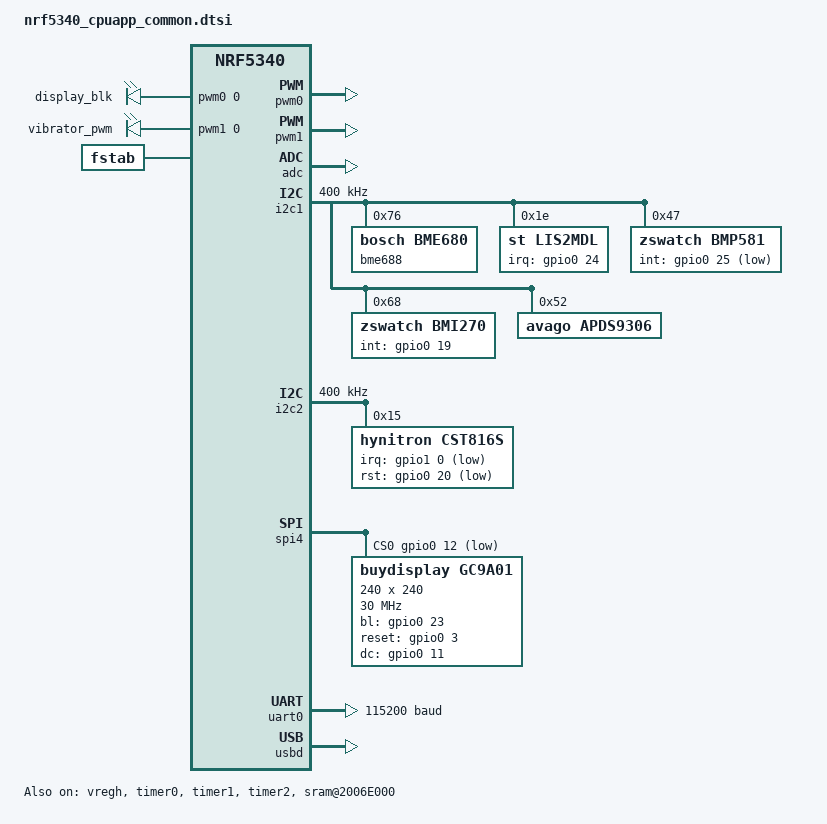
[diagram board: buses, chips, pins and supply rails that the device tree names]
/*
 * Copyright (c) 2025 ZSWatch Project
 * SPDX-License-Identifier: Apache-2.0
 */

#include "nrf5340_cpuapp_common-pinctrl.dtsi"
#include <nordic/nrf5340_cpuapp_partition.dtsi>
#include <zephyr/dt-bindings/input/input-event-codes.h>

/ {
    chosen {
        zephyr,console = &uart0;
        zephyr,shell-uart = &uart0;
        zephyr,uart-mcumgr = &uart0;
        zephyr,bt-mon-uart = &uart0;
        zephyr,bt-c2h-uart = &uart0;
        zephyr,bt-hci = &bt_hci_ipc0;
        zephyr,ieee802154 = &ieee802154;
        zephyr,display = &gc9a01;
    };

	pwmleds {
        compatible = "pwm-leds";

        display_blk: pwm_led_0 {
            pwms = <&pwm0 0 PWM_USEC(15) PWM_POLARITY_INVERTED>;
        };

        vibrator_pwm: pwm_led_1 {
            pwms = <&pwm1 0 PWM_MSEC(20) 0>;
        };
    };

    lvgl_pointer_input: lvgl_pointer {
        compatible = "zephyr,lvgl-pointer-input";
        input = <&cst816s>;
        swap-xy;
        invert-x;
    };


    aliases {
        display-blk = &display_blk;
        vibrator-pwm = &vibrator_pwm;
        sw1 = &button1;
        sw2 = &button2;
        sw3 = &button3;
        sw4 = &button4;
        watchdog0 = &wdt0;
        mcuboot-button0 = &button1;
    };
};

&vregmain {
    regulator-initial-mode = <NRF5X_REG_MODE_DCDC>;
};

&vregradio {
    regulator-initial-mode = <NRF5X_REG_MODE_DCDC>;
};

&vregh {
    status = "okay";
};

&lfxo {
    status = "disabled";
};

&pwm0 {
    status = "okay";
    pinctrl-0 = <&pwm0_default>;
    pinctrl-1 = <&pwm0_sleep>;
    pinctrl-names = "default", "sleep";
};

&pwm1 {
    status = "okay";
    pinctrl-0 = <&pwm1_default>;
    pinctrl-1 = <&pwm1_sleep>;
    pinctrl-names = "default", "sleep";
};

&adc {
    status = "okay";
};

&gpiote {
    status = "okay";
};

&gpio0 {
    status = "okay";
    sense-edge-mask = <0xffffffff>;
};

&gpio1 {
    status = "okay";
};

&i2c1 {
    compatible = "nordic,nrf-twim";
    status = "okay";
    clock-frequency = <I2C_BITRATE_FAST>;
    zephyr,concat-buf-size = <512>;

    pinctrl-0 = <&i2c1_default>;
    pinctrl-1 = <&i2c1_sleep>;
    pinctrl-names = "default", "sleep";

    bme688: bme688@76 {
        compatible = "bosch,bme680";
        reg = <0x76>;
        status = "okay";
    };

    lis2mdl: lis2mdl@1e {
        compatible = "st,lis2mdl";
        reg = <0x1e>;
        status = "okay";
        irq-gpios = <&gpio0 24 0>;
        cancel-offset;
    };

    bmp581: bmp581@47 {
        compatible = "zswatch,bmp581";
        reg = <0x47>;
        status = "okay";
        int-gpios = <&gpio0 25 (GPIO_PULL_UP | GPIO_ACTIVE_LOW)>;
    };

    bmi270: bmi270@68 {
        compatible = "zswatch,bmi270";
        reg = <0x68>;
        status = "okay";
        int-gpios = <&gpio0 19 (GPIO_PULL_DOWN | GPIO_ACTIVE_HIGH)>;
        // NOTE: The swap is performed AFTER the axis inversion. So we have to invert the y axis of the sensor
        // to get the x axis of the watch coordinate system.
        swap-xy;
        invert-y;
    };

    apds9306: apds9306@52 {
        compatible = "avago,apds9306";
        reg = <0x52>;
        status = "okay";
    };
};

&i2c2 {
    compatible = "nordic,nrf-twim";
    status = "okay";
    clock-frequency = <I2C_BITRATE_FAST>;

    pinctrl-0 = <&i2c2_default>;
    pinctrl-1 = <&i2c2_sleep>;
    pinctrl-names = "default", "sleep";

    cst816s: cst816s@15 {
        compatible = "hynitron,cst816s";
        reg = <0x15>;
        status = "okay";
        irq-gpios = <&gpio1 0 GPIO_ACTIVE_LOW>;
        rst-gpios = <&gpio0 20 GPIO_ACTIVE_LOW>;
    };
};

&spi4  {
    status = "okay";
    compatible = "nordic,nrf-spim";
    pinctrl-0 = <&spi4_default>;
    pinctrl-1 = <&spi4_sleep>;
    pinctrl-names = "default", "sleep";
    cs-gpios = <&gpio0 12 GPIO_ACTIVE_LOW>;

    gc9a01: gc9a01@0 {
        compatible = "buydisplay,gc9a01";
        status = "okay";
        spi-max-frequency = <30000000>;
        reg = <0>;
        width = <240>;
        height = <240>;
        bl-gpios = <&gpio0 23 GPIO_ACTIVE_HIGH>;
        reset-gpios = <&gpio0 3 GPIO_ACTIVE_HIGH>;
        dc-gpios = <&gpio0 11 GPIO_ACTIVE_HIGH>;
    };
};

/* UART0 GPIOs can be configured for other use-cases */
&uart0 {
    current-speed = <115200>;
    status = "okay";
    pinctrl-0 = <&uart0_default>;
    pinctrl-1 = <&uart0_sleep>;
    pinctrl-names = "default", "sleep";
};

&timer0 {
    status = "okay";
};

&timer1 {
    status = "okay";
};

&timer2 {
    status = "okay";
};


/ {
	fstab {
		compatible = "zephyr,fstab";

		lvgl_lfs: lvgl_lfs {
			compatible = "zephyr,fstab,littlefs";
			mount-point = "/lvgl_lfs";
			partition = <&littlefs_storage>;
			automount;
			read-size = <512>;
			prog-size = <512>;
			cache-size = <512>;
			lookahead-size = <4096>;
			block-cycles = <512>;
		};
	};
};

zephyr_udc0: &usbd {
    compatible = "nordic,nrf-usbd";
    status = "okay";
};

/ {
    reserved-memory {
        #address-cells = <1>;
        #size-cells = <1>;
        ranges;

        sram0_image: image@20000000 {
            /* Zephyr image(s) memory */
        };

        sram0_s: image_s@20000000 {
            /* Secure image memory */
        };

        sram0_ns: image_ns@20040000 {
            /* Non-Secure image memory */
        };
    };
};

/ {
    sram@2006E000 {
        compatible = "zephyr,memory-region", "mmio-sram";
        reg = <0x2006E000 0x2000>;
        zephyr,memory-region = "RetainedMem";
        status = "okay";

        retainedmem {
            compatible = "zephyr,retained-ram";
            status = "okay";
            #address-cells = <1>;
            #size-cells = <1>;

            retention_coredump: retention@0 {
                compatible = "zephyr,retention";
                status = "okay";
                reg = <0x0 0x1F00>;
                prefix = [04 fa];
                checksum = <1>;
            };

            retention0: retention@1F00 {
                compatible = "zephyr,retention";
                status = "okay";
                reg = <0x1F00 0xFB>;
                prefix = [04 fa];
                checksum = <1>;
            };
            // Last byte in RAM is for boot mode.
            // Du to debugger only supports writing 4 bytes at a time
            // we need to leave a 3 byte gap between the two retention areas.
            retention1: retention@1FFF {
                compatible = "zephyr,retention";
                status = "okay";
                reg = <0x1FFF 0x1>;
            };
        };
    };

    chosen {
            zephyr,boot-mode = &retention1;
    };
};


/*
* Reduce SRAM0 usage by 256 bytes to account for non-init area.
* The last 256 bytes of SRAM0 are used for retention memory.
*/
&sram0 {
    //reg = <0x20000000 0x7DFFF>;
};
